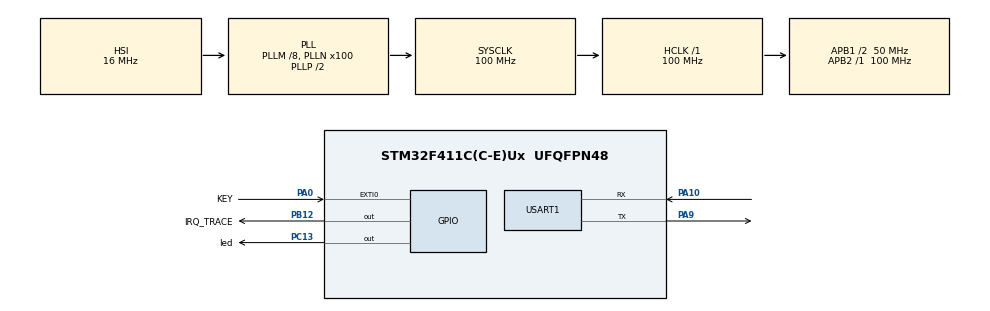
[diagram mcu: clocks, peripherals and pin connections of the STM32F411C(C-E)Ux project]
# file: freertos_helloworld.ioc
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FREERTOS.Tasks01=defaultTask,24,128,StartDefaultTask,Default,NULL,Dynamic,NULL,NULL
Mcu.Family=STM32F4
Mcu.Name=STM32F411C(C-E)Ux
Mcu.Package=UFQFPN48
NVIC.EXTI0_IRQn=true\:5\:0\:false\:false\:true\:true\:true\:true\:true
NVIC.PriorityGroup=NVIC_PRIORITYGROUP_4
NVIC.TIM1_UP_TIM10_IRQn=true\:15\:0\:false\:false\:true\:false\:false\:true\:true
NVIC.TIM2_IRQn=true\:5\:0\:false\:false\:true\:true\:true\:true\:true
NVIC.TimeBase=TIM1_UP_TIM10_IRQn
NVIC.TimeBaseIP=TIM1
PA0-WKUP.GPIO_Label=KEY
PA0-WKUP.GPIO_ModeDefaultEXTI=GPIO_MODE_IT_FALLING
PA0-WKUP.GPIO_PuPd=GPIO_PULLUP
PA0-WKUP.Signal=GPXTI0
PA10.Mode=Asynchronous
PA10.Signal=USART1_RX
PA13.Mode=Serial_Wire
PA13.Signal=SYS_JTMS-SWDIO
PA14.Mode=Serial_Wire
PA14.Signal=SYS_JTCK-SWCLK
PA9.Mode=Asynchronous
PA9.Signal=USART1_TX
PB12.GPIO_Label=IRQ_TRACE
PB12.GPIO_PuPd=GPIO_PULLDOWN
PB12.GPIO_Speed=GPIO_SPEED_FREQ_VERY_HIGH
PB12.PinState=GPIO_PIN_RESET
PB12.Signal=GPIO_Output
PC13-ANTI_TAMP.GPIO_Label=led
PC13-ANTI_TAMP.PinState=GPIO_PIN_SET
PC13-ANTI_TAMP.Signal=GPIO_Output
PC14-OSC32_IN.Mode=LSE-External-Oscillator
PC14-OSC32_IN.Signal=RCC_OSC32_IN
PC15-OSC32_OUT.Mode=LSE-External-Oscillator
PC15-OSC32_OUT.Signal=RCC_OSC32_OUT
PH0\ -\ OSC_IN.Mode=HSE-External-Oscillator
PH0\ -\ OSC_IN.Signal=RCC_OSC_IN
PH1\ -\ OSC_OUT.Mode=HSE-External-Oscillator
PH1\ -\ OSC_OUT.Signal=RCC_OSC_OUT
ProjectManager.HeapSize=0x200
ProjectManager.StackSize=0x400
ProjectManager.TargetToolchain=MDK-ARM V5
RCC.48MHZClocksFreq_Value=50000000
RCC.AHBFreq_Value=100000000
RCC.APB1CLKDivider=RCC_HCLK_DIV2
RCC.APB1Freq_Value=50000000
RCC.APB1TimFreq_Value=100000000
RCC.APB2Freq_Value=100000000
RCC.APB2TimFreq_Value=100000000
RCC.CortexFreq_Value=100000000
RCC.HCLKFreq_Value=100000000
RCC.HSE_VALUE=25000000
RCC.HSI_VALUE=16000000
RCC.PLLM=8
RCC.PLLN=100
RCC.SYSCLKFreq_VALUE=100000000
RCC.SYSCLKSource=RCC_SYSCLKSOURCE_PLLCLK
RCC.VCOOutputFreq_Value=200000000
TIM2.AutoReloadPreload=TIM_AUTORELOAD_PRELOAD_ENABLE
TIM2.ClockDivision=TIM_CLOCKDIVISION_DIV1
TIM2.Period=1000
TIM2.Prescaler=9999
USART1.VirtualMode=VM_ASYNC
VP_FREERTOS_VS_CMSIS_V2.Mode=CMSIS_V2
VP_SYS_VS_tim1.Mode=TIM1
VP_TIM2_VS_ClockSourceINT.Mode=Internal
board=custom

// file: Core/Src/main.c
/* USER CODE BEGIN Header */
/**
  ******************************************************************************
  * @file           : main.c
  * @brief          : Main program body
  ******************************************************************************
  * @attention
  *
  * Copyright (c) 2025 STMicroelectronics.
  * All rights reserved.
  *
  * This software is licensed under terms that can be found in the LICENSE file
  * in the root directory of this software component.
  * If no LICENSE file comes with this software, it is provided AS-IS.
  *
  ******************************************************************************
  */
/* USER CODE END Header */
#include "main.h"
#include "cmsis_os.h"
#include "tim.h"
#include "usart.h"
#include "gpio.h"

/* USER CODE BEGIN Includes */
#include <stdio.h>
#include "FreeRTOS.h"
#include "SEGGER_RTT.h"
#include "elog.h"
#include "task.h"
/* USER CODE END Includes */

/* USER CODE BEGIN PD */
#define TAG    "Main"
/* USER CODE END PD */

void SystemClock_Config(void);
void MX_FREERTOS_Init(void);

/* USER CODE BEGIN 0 */

void app_elog_init(void)
{
  elog_init();
  elog_set_fmt(ELOG_LVL_ASSERT, ELOG_FMT_LVL | ELOG_FMT_TAG | ELOG_FMT_TIME);
  elog_start();
}

/* USER CODE END 0 */

int main(void)
{

  /* MCU Configuration--------------------------------------------------------*/

  /* Reset of all peripherals, Initializes the Flash interface and the Systick. */
  HAL_Init();

  /* Configure the system clock */
  SystemClock_Config();

  /* Initialize all configured peripherals */
  MX_GPIO_Init();
  MX_USART1_UART_Init();
  MX_TIM2_Init();
  /* USER CODE BEGIN 2 */
  HAL_TIM_Base_Start_IT(&htim2);
  app_elog_init();
  /* USER CODE END 2 */

  /* Init scheduler */
  osKernelInitialize();  /* Call init function for freertos objects (in freertos.c) */
  MX_FREERTOS_Init();

  /* Start scheduler */
  osKernelStart();
  /* We should never get here as control is now taken by the scheduler */
  /* Infinite loop */
  while (1)
  {

  }
}

void SystemClock_Config(void)
{
  RCC_OscInitTypeDef RCC_OscInitStruct = {0};
  RCC_ClkInitTypeDef RCC_ClkInitStruct = {0};

  /** Configure the main internal regulator output voltage
  */
  __HAL_RCC_PWR_CLK_ENABLE();
  __HAL_PWR_VOLTAGESCALING_CONFIG(PWR_REGULATOR_VOLTAGE_SCALE1);

  /** Initializes the RCC Oscillators according to the specified parameters
  * in the RCC_OscInitTypeDef structure.
  */
  RCC_OscInitStruct.OscillatorType = RCC_OSCILLATORTYPE_HSI;
  RCC_OscInitStruct.HSIState = RCC_HSI_ON;
  RCC_OscInitStruct.HSICalibrationValue = RCC_HSICALIBRATION_DEFAULT;
  RCC_OscInitStruct.PLL.PLLState = RCC_PLL_ON;
  RCC_OscInitStruct.PLL.PLLSource = RCC_PLLSOURCE_HSI;
  RCC_OscInitStruct.PLL.PLLM = 8;
  RCC_OscInitStruct.PLL.PLLN = 100;
  RCC_OscInitStruct.PLL.PLLP = RCC_PLLP_DIV2;
  RCC_OscInitStruct.PLL.PLLQ = 4;
  if (HAL_RCC_OscConfig(&RCC_OscInitStruct) != HAL_OK)
  {
    Error_Handler();
  }

  /** Initializes the CPU, AHB and APB buses clocks
  */
  RCC_ClkInitStruct.ClockType = RCC_CLOCKTYPE_HCLK|RCC_CLOCKTYPE_SYSCLK
                              |RCC_CLOCKTYPE_PCLK1|RCC_CLOCKTYPE_PCLK2;
  RCC_ClkInitStruct.SYSCLKSource = RCC_SYSCLKSOURCE_PLLCLK;
  RCC_ClkInitStruct.AHBCLKDivider = RCC_SYSCLK_DIV1;
  RCC_ClkInitStruct.APB1CLKDivider = RCC_HCLK_DIV2;
  RCC_ClkInitStruct.APB2CLKDivider = RCC_HCLK_DIV1;

  if (HAL_RCC_ClockConfig(&RCC_ClkInitStruct, FLASH_LATENCY_3) != HAL_OK)
  {
    Error_Handler();
  }
}

/* USER CODE BEGIN 4 */
#ifdef __GNUC__
#define PUTCHAR_PROTOTYPE int _io_putchar(int ch)
#else
#define PUTCHAR_PROTOTYPE int fputc(int ch, FILE *f)
#endif /* __GNUC__*/

/******************************************************************
 *@brief  Retargets the C library printf  function to the USART.
 *@param  None
 *@retval None
 ******************************************************************/
PUTCHAR_PROTOTYPE
{
    // vTaskSuspendAll(); // Enter critical section
    // HAL_UART_Transmit(&huart1, (uint8_t *)&ch, 1, 0xFFFF);
    SEGGER_RTT_PutChar(0, ch);
    // xTaskResumeAll();  // Exit critical section
    return ch;
}
/* USER CODE END 4 */

void HAL_TIM_PeriodElapsedCallback(TIM_HandleTypeDef *htim)
{
  if (htim->Instance == TIM1) {
    HAL_IncTick();
  }
  /* USER CODE BEGIN Callback 1 */
  if (htim->Instance == TIM2) {
    led_callback_in_timer2();
  }
  /* USER CODE END Callback 1 */
}

void Error_Handler(void)
{
  __disable_irq();
  while (1)
  {
  }
}

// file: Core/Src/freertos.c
/* USER CODE BEGIN Header */
/**
  ******************************************************************************
  * File Name          : freertos.c
  * Description        : Code for freertos applications
  ******************************************************************************
  * @attention
  *
  * Copyright (c) 2025 STMicroelectronics.
  * All rights reserved.
  *
  * This software is licensed under terms that can be found in the LICENSE file
  * in the root directory of this software component.
  * If no LICENSE file comes with this software, it is provided AS-IS.
  *
  ******************************************************************************
  */
/* USER CODE END Header */

#include "FreeRTOS.h"
#include "task.h"
#include "main.h"
#include "cmsis_os.h"

/* USER CODE BEGIN Includes */
// #include "bsp_key.h"
#include "bsp_key_irq.h"
#include "bsp_led.h"
#include "queue.h"
#include "elog.h"
#include "SEGGER_RTT.h"
/* USER CODE END Includes */

/* Definitions for defaultTask */
osThreadId_t defaultTaskHandle;
const osThreadAttr_t defaultTask_attributes = {
  .name = "defaultTask",
  .stack_size = 128 * 4,
  .priority = (osPriority_t) osPriorityNormal,
};

void StartDefaultTask(void *argument);

void MX_FREERTOS_Init(void); /* (MISRA C 2004 rule 8.1) */

void MX_FREERTOS_Init(void) {

  /* Create the thread(s) */
  /* creation of defaultTask */
  defaultTaskHandle = osThreadNew(StartDefaultTask, NULL, &defaultTask_attributes);

  /* USER CODE BEGIN RTOS_THREADS */
  key_TaskHandle    = osThreadNew(key_task_func, NULL, &key_Task_attributes);
  led_TaskHandle    = osThreadNew(led_task_func, NULL, &led_Task_attributes);

  /* add threads, ... */
  /* USER CODE END RTOS_THREADS */

}

void StartDefaultTask(void *argument)
{
  /* USER CODE BEGIN StartDefaultTask */
    //********************************APP TASK*********************************//
    /**                     Variables (in task stack)                       **/
    key_press_status_t key_press_event =                       KEY_NOT_PRESSED;
    led_operation_t      led_operation =                               LED_OFF;

    /**                     Variables (in task stack)                       **/

    osDelay(500);

#if 0 // Test #1 error fetch
    key_press_event_t key_press_event =
    {
        .edge_type = FALLING,
        .trigger_tick = HAL_GetTick()
    };
    if (pdTRUE == xQueueSendToFront(       inter_key_queue,
                                          &key_press_event,
                                        ( TickType_t ) 0 ))
    {
        printf("key_result send short press         at"
                "[%d] tick\r\n",
                HAL_GetTick());
    }
#endif

#if 0 // Test #2 filting fetch and short press
    key_press_event_t key_press_event =
    {
        .edge_type = FALLING,
        .trigger_tick = HAL_GetTick()
    };

    if (NULL == inter_key_queue)
    {
        printf("inter_key_queue is not created!     at"
               "[%d] tick \r\n",
                HAL_GetTick());
    }
    if (pdTRUE == xQueueSendToBack(        inter_key_queue,
                                          &key_press_event,
                                        ( TickType_t ) 0 ))
    {
        printf("key_press_event send to inter       at"
                "[%d] tick\r\n",
                HAL_GetTick());
    }

    HAL_Delay(10);

    key_press_event_t key_press_event_2 =
    {
        .edge_type = RISING,
        .trigger_tick = HAL_GetTick()
    };
    if (NULL == inter_key_queue)
    {
        printf("inter_key_queue is not created!     at"
                                       "[%d] tick \r\n",
                                         HAL_GetTick());
    }
    if (pdTRUE == xQueueSendToBack(        inter_key_queue,
                                        &key_press_event_2,
                                        ( TickType_t ) 0 ))
    {
        printf("key_press_event send to inter       at"
                                        "[%d] tick\r\n",
                                         HAL_GetTick());
    }
#endif

#if 0 // Test #3 filting fetch and long press
    key_press_event_t key_press_event =
    {
        .edge_type = FALLING,
        .trigger_tick = HAL_GetTick()
    };

    if (NULL == inter_key_queue)
    {
        printf("inter_key_queue is not created!     at"
               "[%d] tick \r\n",
                HAL_GetTick());
    }
    if (pdTRUE == xQueueSendToBack(        inter_key_queue,
                                          &key_press_event,
                                        ( TickType_t ) 0 ))
    {
        printf("key_press_event send to inter       at"
                "[%d] tick\r\n",
                HAL_GetTick());
    }

    HAL_Delay(600);

    key_press_event_t key_press_event_2 =
    {
        .edge_type = RISING,
        .trigger_tick = HAL_GetTick()
    };
    if (NULL == inter_key_queue)
    {
        printf("inter_key_queue is not created!     at"
                                       "[%d] tick \r\n",
                                         HAL_GetTick());
    }
    if (pdTRUE == xQueueSendToBack(        inter_key_queue,
                                        &key_press_event_2,
                                        ( TickType_t ) 0 ))
    {
        printf("key_press_event send to inter       at"
                                        "[%d] tick\r\n",
                                         HAL_GetTick());
    }
#endif

    /* Infinite loop */
    for (;;)
    {
#if 1 // Test #4 Elog in APP task
#define TAG "APP_TASK"
        elog_a(TAG, "Elog running in APP task...\r\n");
#endif
        printf("APP task is living\r\n");

        // Check if the queue was created successfully
        if ( NULL == key_queue )
        {
            printf("key_queue is not created!               at"
                                               "[%d] tick \r\n",
                                                HAL_GetTick());
        }

        // 1. If the key is pressed with short time
        if ( pdTRUE == xQueueReceive(                         key_queue,
                                                   &( key_press_event ),
                                                    ( TickType_t ) 0 ) )
        {
            if ( KEY_SHORT_PRESSED == key_press_event )
            {
                // 1.1 toggle the LED
                led_operation = LED_BLINK_1_TIMES;
                if ( pdTRUE == xQueueSendToBack(              led_queue,
                                                         &led_operation,
                                                    ( TickType_t ) 0 ) )
                {
                    printf("led_operation send to led_queue     at"
                                                    "[%d] tick\r\n",
                                                    HAL_GetTick());
                }
            }
            // 2. If the key is pressed with long time
            if ( KEY_LONG_PRESSED  == key_press_event )
            {
                // 2.1 led blink with 3 times
                led_operation =  LED_BLINK_10_TIMES;
                if ( pdTRUE == xQueueSendToBack(              led_queue,
                                                         &led_operation,
                                                    ( TickType_t ) 0 ) )
                {
                    printf("led_operation send to led_queue     at"
                                                    "[%d] tick\r\n",
                                                    HAL_GetTick());
                }
            }
        }

        osDelay(200);
    }

  /* USER CODE END StartDefaultTask */
}
